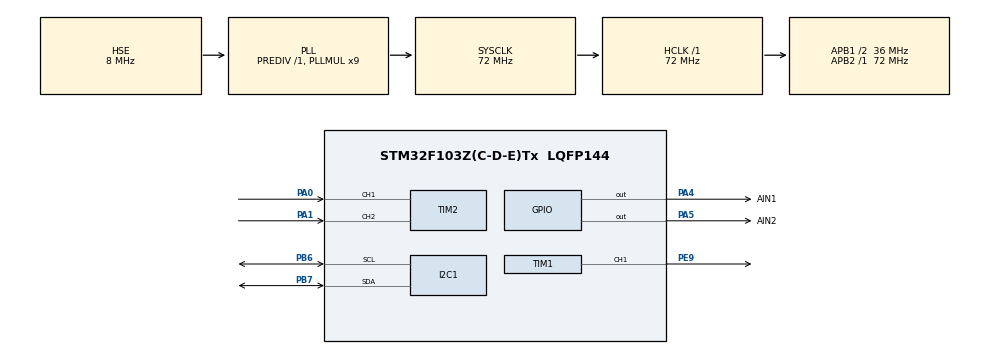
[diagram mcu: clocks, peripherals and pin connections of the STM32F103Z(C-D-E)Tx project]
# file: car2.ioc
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I2C1.I2C_Mode=I2C_Fast
Mcu.Family=STM32F1
Mcu.Name=STM32F103Z(C-D-E)Tx
Mcu.Package=LQFP144
NVIC.PriorityGroup=NVIC_PRIORITYGROUP_4
NVIC.TIM2_IRQn=true\:1\:0\:true\:false\:true\:true\:true\:true
NVIC.TIM3_IRQn=true\:3\:0\:true\:false\:true\:true\:true\:true
OSC_IN.Mode=HSE-External-Oscillator
OSC_IN.Signal=RCC_OSC_IN
OSC_OUT.Mode=HSE-External-Oscillator
OSC_OUT.Signal=RCC_OSC_OUT
PA0-WKUP.Signal=S_TIM2_CH1_ETR
PA1.Signal=S_TIM2_CH2
PA13.Mode=Serial_Wire
PA13.Signal=SYS_JTMS-SWDIO
PA14.Mode=Serial_Wire
PA14.Signal=SYS_JTCK-SWCLK
PA4.GPIO_Label=AIN1
PA4.GPIO_Speed=GPIO_SPEED_FREQ_HIGH
PA4.Signal=GPIO_Output
PA5.GPIO_Label=AIN2
PA5.GPIO_Speed=GPIO_SPEED_FREQ_HIGH
PA5.Signal=GPIO_Output
PB6.Mode=I2C
PB6.Signal=I2C1_SCL
PB7.Mode=I2C
PB7.Signal=I2C1_SDA
PC14-OSC32_IN.Mode=LSE-External-Oscillator
PC14-OSC32_IN.Signal=RCC_OSC32_IN
PC15-OSC32_OUT.Mode=LSE-External-Oscillator
PC15-OSC32_OUT.Signal=RCC_OSC32_OUT
PE9.Signal=S_TIM1_CH1
ProjectManager.HeapSize=0x200
ProjectManager.StackSize=0x400
ProjectManager.TargetToolchain=CMake
RCC.AHBFreq_Value=72000000
RCC.APB1CLKDivider=RCC_HCLK_DIV2
RCC.APB1Freq_Value=36000000
RCC.APB1TimFreq_Value=72000000
RCC.APB2Freq_Value=72000000
RCC.APB2TimFreq_Value=72000000
RCC.HCLKFreq_Value=72000000
RCC.PLLMUL=RCC_PLL_MUL9
RCC.PLLSourceVirtual=RCC_PLLSOURCE_HSE
RCC.SYSCLKFreq_VALUE=72000000
RCC.SYSCLKSource=RCC_SYSCLKSOURCE_PLLCLK
RCC.USBFreq_Value=72000000
SH.S_TIM1_CH1.0=TIM1_CH1,PWM Generation1 CH1
SH.S_TIM2_CH1_ETR.0=TIM2_CH1,Encoder_Interface
SH.S_TIM2_CH2.0=TIM2_CH2,Encoder_Interface
TIM1.Channel-PWM\ Generation1\ CH1=TIM_CHANNEL_1
TIM1.Period=1000
TIM1.Prescaler=71
TIM1.Pulse-PWM\ Generation1\ CH1=500
TIM2.EncoderMode=TIM_ENCODERMODE_TI12
TIM2.IC1Filter=10
TIM2.IC2Filter=15
TIM3.Period=999
TIM3.Prescaler=720-1
VP_TIM1_VS_ClockSourceINT.Mode=Internal
VP_TIM3_VS_ClockSourceINT.Mode=Internal
board=custom

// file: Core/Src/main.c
/* USER CODE BEGIN Header */
/**
  ******************************************************************************
  * @file           : main.c
  * @brief          : Main program body
  ******************************************************************************
  * @attention
  *
  * Copyright (c) 2026 STMicroelectronics.
  * All rights reserved.
  *
  * This software is licensed under terms that can be found in the LICENSE file
  * in the root directory of this software component.
  * If no LICENSE file comes with this software, it is provided AS-IS.
  *
  ******************************************************************************
  */
/* USER CODE END Header */
#include "main.h"
#include "i2c.h"
#include "tim.h"
#include "gpio.h"

/* USER CODE BEGIN Includes */
#include <stdio.h>
#include "PWM.h"
#include "OLED.h"
#include "PID.h"
#include "motion.h"
#include "trace_task.h"
#include "line_sensor.h"
/* USER CODE END Includes */

/* USER CODE BEGIN PV */
volatile uint8_t  oled_update_flag = 0;   // OLED更新标志位
volatile uint8_t  motion_tick = 0;        // 10ms运动控制计数器
volatile uint8_t  line_follow_flag = 0;   // 巡线执行标志位
char              line1[24]    = "";
char              line2[24]    = "";
/* USER CODE END PV */

void SystemClock_Config(void);

/* USER CODE BEGIN 0 */
void HAL_TIM_PeriodElapsedCallback(TIM_HandleTypeDef *htim)
{
    if (htim->Instance == TIM3)
    {
        // TIM3 现在是10ms周期
        Motion_Handle();  // 每10ms执行一次速度闭环控制

        motion_tick++;
        if (motion_tick >= 5)  // 5 * 10ms = 50ms，巡线周期
        {
            motion_tick = 0;
            line_follow_flag = 1;  // 通知主循环执行巡线
        }
        oled_update_flag = 1;  // 每10ms更新OLED（主循环中按需降频）
    }
}
/* USER CODE END 0 */

int main(void)
{

  /* MCU Configuration--------------------------------------------------------*/

  /* Reset of all peripherals, Initializes the Flash interface and the Systick. */
  HAL_Init();

  /* Configure the system clock */
  SystemClock_Config();

  /* Initialize all configured peripherals */
  MX_GPIO_Init();
  MX_TIM1_Init();
  MX_TIM2_Init();
  MX_TIM8_Init();
  MX_I2C1_Init();
  MX_TIM3_Init();
  /* USER CODE BEGIN 2 */
  HAL_TIM_PWM_Start(&htim1, TIM_CHANNEL_1);
  HAL_TIM_PWM_Start(&htim1, TIM_CHANNEL_2);
  HAL_TIM_Encoder_Start(&htim2, TIM_CHANNEL_ALL);
  HAL_TIM_Encoder_Start(&htim8, TIM_CHANNEL_ALL);
  HAL_TIM_Base_Start_IT(&htim3);
  OLED_Init();

  // 初始化灰度传感器
  Grayscale_Sensor_Init();

  // 初始化运动控制（PID速度闭环）
  Motion_Init();

  // 初始化巡线控制器
  line_following_init(&g_line_controller);
  /* USER CODE END 2 */

  /* Infinite loop */
  /* USER CODE BEGIN WHILE */
  while (1)
  {
    // 每50ms执行一次巡线决策（由ISR通过line_follow_flag触发）
    if (line_follow_flag)
    {
      line_follow_flag = 0;
      follow_line(&g_line_controller);
    }

    // 每秒更新一次OLED显示
    if (oled_update_flag)
    {
      oled_update_flag = 0;

      static uint8_t oled_div = 0;
      oled_div++;
      if (oled_div >= 100)  // 100 * 10ms = 1秒
      {
        oled_div = 0;

        // 显示灰度传感器状态和巡线信息
        uint16_t sensors[GRAYSCALE_SENSOR_CHANNELS];
        Grayscale_Sensor_Read_All(sensors);

        sprintf(line1, "S:%d%d%d%d%d%d%d%d",
                sensors[0], sensors[1], sensors[2], sensors[3],
                sensors[4], sensors[5], sensors[6], sensors[7]);
        // 将 last_error 放大10倍显示为整数，避免浮点格式化
        int err_x10 = (int)(g_line_controller.last_error * 10.0f);
        sprintf(line2, "Spd:%d E:%d",
                g_line_controller.base_speed, err_x10);

        OLED_NewFrame();
        OLED_PrintASCIIString(0, 0, line1, &afont16x8, OLED_COLOR_NORMAL);
        OLED_PrintASCIIString(0, 20, line2, &afont16x8, OLED_COLOR_NORMAL);
        OLED_ShowFrame();
      }
    }
    /* USER CODE END WHILE */

  }
}

void SystemClock_Config(void)
{
  RCC_OscInitTypeDef RCC_OscInitStruct = {0};
  RCC_ClkInitTypeDef RCC_ClkInitStruct = {0};

  /** Initializes the RCC Oscillators according to the specified parameters
  * in the RCC_OscInitTypeDef structure.
  */
  RCC_OscInitStruct.OscillatorType = RCC_OSCILLATORTYPE_HSE;
  RCC_OscInitStruct.HSEState = RCC_HSE_ON;
  RCC_OscInitStruct.HSEPredivValue = RCC_HSE_PREDIV_DIV1;
  RCC_OscInitStruct.HSIState = RCC_HSI_ON;
  RCC_OscInitStruct.PLL.PLLState = RCC_PLL_ON;
  RCC_OscInitStruct.PLL.PLLSource = RCC_PLLSOURCE_HSE;
  RCC_OscInitStruct.PLL.PLLMUL = RCC_PLL_MUL9;
  if (HAL_RCC_OscConfig(&RCC_OscInitStruct) != HAL_OK)
  {
    Error_Handler();
  }

  /** Initializes the CPU, AHB and APB buses clocks
  */
  RCC_ClkInitStruct.ClockType = RCC_CLOCKTYPE_HCLK|RCC_CLOCKTYPE_SYSCLK
                              |RCC_CLOCKTYPE_PCLK1|RCC_CLOCKTYPE_PCLK2;
  RCC_ClkInitStruct.SYSCLKSource = RCC_SYSCLKSOURCE_PLLCLK;
  RCC_ClkInitStruct.AHBCLKDivider = RCC_SYSCLK_DIV1;
  RCC_ClkInitStruct.APB1CLKDivider = RCC_HCLK_DIV2;
  RCC_ClkInitStruct.APB2CLKDivider = RCC_HCLK_DIV1;

  if (HAL_RCC_ClockConfig(&RCC_ClkInitStruct, FLASH_LATENCY_2) != HAL_OK)
  {
    Error_Handler();
  }
}

void Error_Handler(void)
{
  __disable_irq();
  while (1)
  {
  }
}
